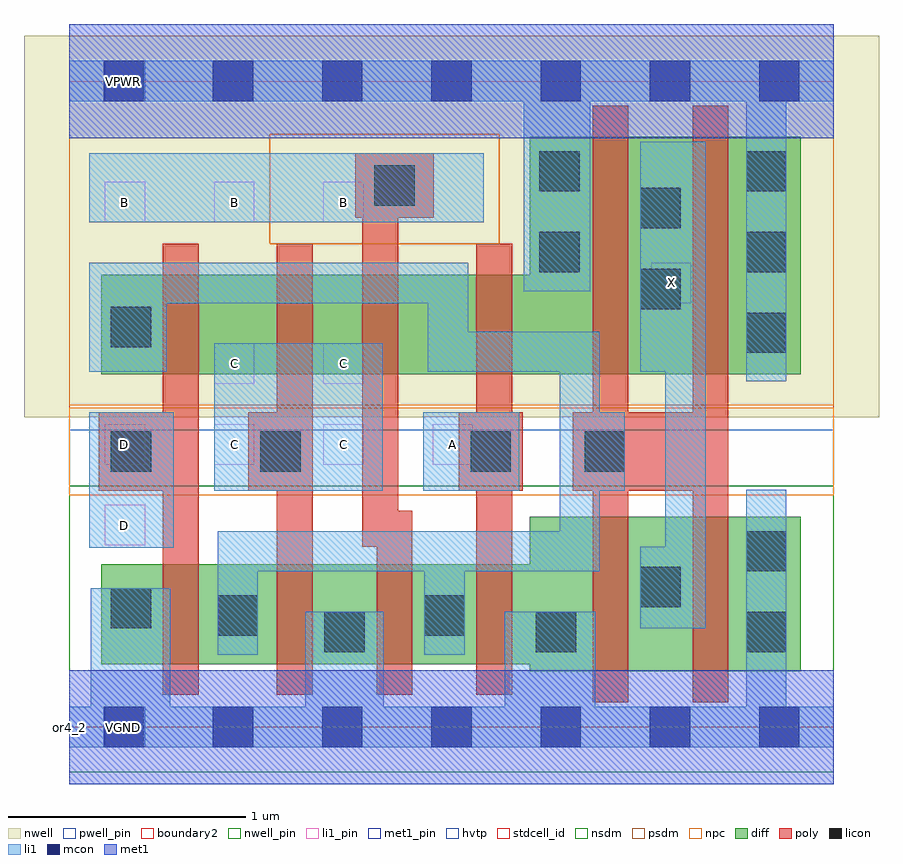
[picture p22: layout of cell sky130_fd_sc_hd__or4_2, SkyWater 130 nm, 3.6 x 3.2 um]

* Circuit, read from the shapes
.subckt sky130_fd_sc_hd__or4_2 A B C D VGND VNB VPB VPWR X
XM1 n1 D VGND VNB sky130_fd_pr__nfet_01v8 w=0.42 l=0.15
XM2 VGND C n1 VNB sky130_fd_pr__nfet_01v8 w=0.42 l=0.15
XM3 n1 B VGND VNB sky130_fd_pr__nfet_01v8 w=0.42 l=0.15
XM4 VGND A n1 VNB sky130_fd_pr__nfet_01v8 w=0.42 l=0.15
XM5 X n1 VGND VNB sky130_fd_pr__nfet_01v8 w=0.65 l=0.15 m=2
XM6 n2 D n1 VPB sky130_fd_pr__pfet_01v8_hvt w=0.42 l=0.15
XM7 n3 C n2 VPB sky130_fd_pr__pfet_01v8_hvt w=0.42 l=0.15
XM8 n4 B n3 VPB sky130_fd_pr__pfet_01v8_hvt w=0.42 l=0.15
XM9 VPWR A n4 VPB sky130_fd_pr__pfet_01v8_hvt w=0.42 l=0.15
XM10 X n1 VPWR VPB sky130_fd_pr__pfet_01v8_hvt w=1 l=0.15 m=2
.ends

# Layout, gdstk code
import gdstk
lib = gdstk.Library(unit=1e-6, precision=1e-09)
def R(c, l, rs):  # rectangles x0, y0, x1, y1
    for r in rs: c.add(gdstk.rectangle(r[:2], r[2:], *l))
def A(c, l, x, y, w, h, nx, ny, dx, dy):  # array of equal rectangles
    R(c, l, [(x+i*dx, y+j*dy, x+i*dx+w, y+j*dy+h) for i in range(nx) for j in range(ny)])
def P(c, l, *ps):  # polygons
    for p in ps: c.add(gdstk.Polygon(p, *l))
nwell_pin = (64, 16)
nwell = (64, 20)
diff = (65, 20)
poly = (66, 20)
licon = (66, 44)
li1_pin = (67, 16)
li1 = (67, 20)
mcon = (67, 44)
met1_pin = (68, 16)
met1 = (68, 20)
hvtp = (78, 44)
stdcell_id = (81, 4)
nsdm = (93, 44)
psdm = (94, 20)
npc = (95, 20)
pwell_pin = (122, 16)
boundary2 = (236, 0)

sky130_fd_sc_hd__or4_2 = lib.new_cell('sky130_fd_sc_hd__or4_2')
R(sky130_fd_sc_hd__or4_2, nwell_pin, [(0.15,2.635,0.32,2.805)])
R(sky130_fd_sc_hd__or4_2, nwell, [(-0.19,1.305,3.41,2.91)])
P(sky130_fd_sc_hd__or4_2, diff, [(3.08,0.885),(1.94,0.885),(1.94,0.685),(0.135,0.685),(0.135,0.265),(1.94,0.265),(1.94,0.235),(3.08,0.235)],
  [(3.08,2.485),(1.94,2.485),(1.94,1.905),(0.135,1.905),(0.135,1.485),(3.08,1.485)])
P(sky130_fd_sc_hd__or4_2, poly, [(0.545,2.035),(0.395,2.035),(0.395,1.325),(0.125,1.325),(0.125,0.995),(0.395,0.995),(0.395,0.135),(0.545,0.135)],
  [(1.025,2.035),(0.875,2.035),(0.875,1.325),(0.755,1.325),(0.755,0.995),(0.875,0.995),(0.875,0.135),(1.025,0.135)],
  [(1.535,2.415),(1.205,2.415),(1.205,2.145),(1.235,2.145),(1.235,0.76),(1.295,0.76),(1.295,0.135),(1.445,0.135),(1.445,0.91),(1.385,0.91),(1.385,2.145),(1.535,2.145)],
  [(1.91,1.325),(1.865,1.325),(1.865,2.035),(1.715,2.035),(1.715,1.325),(1.64,1.325),(1.64,0.995),(1.715,0.995),(1.715,0.135),(1.865,0.135),(1.865,0.995),(1.91,0.995)],
  [(2.775,2.615),(2.625,2.615),(2.625,1.325),(2.355,1.325),(2.355,2.615),(2.205,2.615),(2.205,1.325),(2.12,1.325),(2.12,0.995),(2.205,0.995),(2.205,0.105),(2.355,0.105),(2.355,0.995),(2.625,0.995),(2.625,0.105),(2.775,0.105)])
A(sky130_fd_sc_hd__or4_2, licon, 2.85, 1.575, 0.17, 0.17, 1, 3, 0, 0.34)
R(sky130_fd_sc_hd__or4_2, licon, [(1.075,0.315,1.245,0.485), (1.965,0.315,2.135,0.485), (2.85,0.315,3.02,0.485), (0.625,0.385,0.795,0.555), (1.495,0.385,1.665,0.555), (0.175,0.415,0.345,0.585), (2.405,0.505,2.575,0.675), (2.85,0.655,3.02,0.825), (0.175,1.075,0.345,1.245), (0.805,1.075,0.975,1.245), (1.69,1.075,1.86,1.245), (2.17,1.075,2.34,1.245), (0.175,1.6,0.345,1.77), (2.405,1.76,2.575,1.93), (1.98,1.915,2.15,2.085), (2.405,2.1,2.575,2.27), (1.285,2.195,1.455,2.365), (1.98,2.255,2.15,2.425)])
A(sky130_fd_sc_hd__or4_2, li1_pin, 0.15, 1.105, 0.17, 0.17, 4, 1, 0.46, 0)
A(sky130_fd_sc_hd__or4_2, li1_pin, 0.15, 2.125, 0.17, 0.17, 3, 1, 0.46, 0)
R(sky130_fd_sc_hd__or4_2, li1_pin, [(0.15,0.765,0.32,0.935), (0.61,1.445,0.78,1.615), (1.07,1.445,1.24,1.615), (2.45,1.785,2.62,1.955)])
R(sky130_fd_sc_hd__or4_2, li1, [(0.085,0.755,0.44,1.325), (0.61,0.995,1.32,1.615), (1.49,0.995,1.895,1.325), (0.085,2.125,1.745,2.415)])
P(sky130_fd_sc_hd__or4_2, li1, [(3.22,2.805),(0,2.805),(0,2.635),(1.915,2.635),(1.915,1.835),(2.195,1.835),(2.195,2.635),(2.85,2.635),(2.85,1.455),(3.02,1.455),(3.02,2.635),(3.22,2.635)],
  [(3.22,0.085),(3.02,0.085),(3.02,1),(2.85,1),(2.85,0.085),(2.215,0.085),(2.215,0.485),(1.835,0.485),(1.835,0.085),(1.325,0.085),(1.325,0.485),(0.995,0.485),(0.995,0.085),(0.425,0.085),(0.425,0.585),(0.09,0.585),(0.09,0.085),(0,0.085),(0,-0.085),(3.22,-0.085)],
  [(2.34,1.325),(2.235,1.325),(2.235,1.665),(1.68,1.665),(1.68,1.955),(0.085,1.955),(0.085,1.495),(0.41,1.495),(0.41,1.785),(1.51,1.785),(1.51,1.495),(2.065,1.495),(2.065,0.825),(0.625,0.825),(0.625,0.305),(0.795,0.305),(0.795,0.655),(1.495,0.655),(1.495,0.305),(1.665,0.305),(1.665,0.655),(2.235,0.655),(2.235,0.995),(2.34,0.995)],
  [(2.68,2.465),(2.405,2.465),(2.405,1.495),(2.51,1.495),(2.51,0.76),(2.405,0.76),(2.405,0.415),(2.68,0.415)])
A(sky130_fd_sc_hd__or4_2, mcon, 0.145, -0.085, 0.17, 0.17, 7, 2, 0.46, 2.72)
R(sky130_fd_sc_hd__or4_2, met1_pin, [(0.15,-0.085,0.32,0.085), (0.15,2.635,0.32,2.805)])
R(sky130_fd_sc_hd__or4_2, hvtp, [(0,1.25,3.22,2.72)])
R(sky130_fd_sc_hd__or4_2, stdcell_id, [(0,0,3.22,2.72)])
R(sky130_fd_sc_hd__or4_2, nsdm, [(0,-0.19,3.22,1.015)])
P(sky130_fd_sc_hd__or4_2, psdm, [(3.22,2.91),(1.81,2.91),(1.81,2.035),(0.845,2.035),(0.845,2.495),(1.81,2.495),(1.81,2.91),(0,2.91),(0,1.355),(3.22,1.355)])
R(sky130_fd_sc_hd__or4_2, npc, [(0,0.975,3.22,1.345), (0.845,2.035,1.81,2.495)])
R(sky130_fd_sc_hd__or4_2, pwell_pin, [(0.15,-0.085,0.32,0.085)])
R(sky130_fd_sc_hd__or4_2, boundary2, [(0,0,3.22,2.72)])
sky130_fd_sc_hd__or4_2.add(gdstk.FlexPath([(0,2.72),(3.22,2.72)], 0.48, ends="flush", simple_path=True, layer=68, datatype=20))  # met1
sky130_fd_sc_hd__or4_2.add(gdstk.FlexPath([(0,0),(3.22,0)], 0.48, ends="flush", simple_path=True, layer=68, datatype=20))  # met1
sky130_fd_sc_hd__or4_2.add(gdstk.Label('C', (1.155,1.19), layer=67, texttype=5))
sky130_fd_sc_hd__or4_2.add(gdstk.Label('A', (1.615,1.19), layer=67, texttype=5))
sky130_fd_sc_hd__or4_2.add(gdstk.Label('X', (2.535,1.87), layer=67, texttype=5))
sky130_fd_sc_hd__or4_2.add(gdstk.Label('C', (0.695,1.19), layer=67, texttype=5))
sky130_fd_sc_hd__or4_2.add(gdstk.Label('B', (1.155,2.21), layer=67, texttype=5))
sky130_fd_sc_hd__or4_2.add(gdstk.Label('B', (0.695,2.21), layer=67, texttype=5))
sky130_fd_sc_hd__or4_2.add(gdstk.Label('C', (0.695,1.53), layer=67, texttype=5))
sky130_fd_sc_hd__or4_2.add(gdstk.Label('B', (0.235,2.21), layer=67, texttype=5))
sky130_fd_sc_hd__or4_2.add(gdstk.Label('C', (1.155,1.53), layer=67, texttype=5))
sky130_fd_sc_hd__or4_2.add(gdstk.Label('D', (0.235,1.19), layer=67, texttype=5))
sky130_fd_sc_hd__or4_2.add(gdstk.Label('D', (0.235,0.85), layer=67, texttype=5))
sky130_fd_sc_hd__or4_2.add(gdstk.Label('VPWR', (0.23,2.72), layer=68, texttype=5))
sky130_fd_sc_hd__or4_2.add(gdstk.Label('VGND', (0.23,0), layer=68, texttype=5))
sky130_fd_sc_hd__or4_2.add(gdstk.Label('VPB', (0.23,2.72), layer=64, texttype=5))
sky130_fd_sc_hd__or4_2.add(gdstk.Label('VNB', (0.23,0), layer=64, texttype=59))
sky130_fd_sc_hd__or4_2.add(gdstk.Label('or4_2', (0,0), layer=83, texttype=44))

lib.write_gds('sky130_fd_sc_hd__or4_2.gds')
